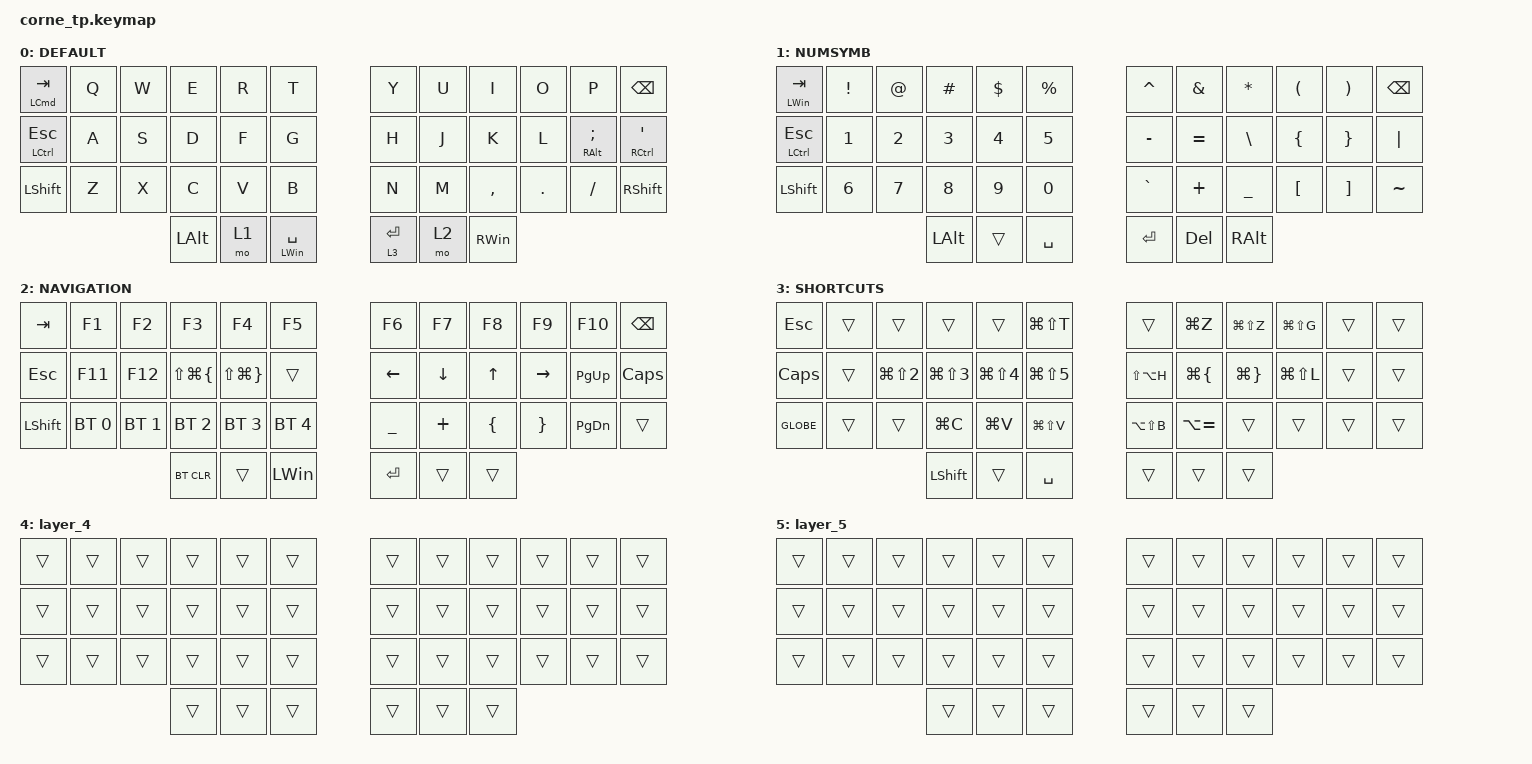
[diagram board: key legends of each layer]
/*
 * Copyright (c) 2020 The ZMK Contributors
 *
 * SPDX-License-Identifier: MIT
 */

#include <behaviors.dtsi>
#include <dt-bindings/zmk/bt.h>
#include <dt-bindings/zmk/keys.h>


#include "zmk-helpers/helper.h"
#include "include/corne_tp_key.h"       

#include <dt-bindings/zmk/outputs.h>
#include <dt-bindings/zmk/ext_power.h>

#include <dt-bindings/zmk/mouse.h>
#include <behaviors/mouse_keys.dtsi>
#include "include/mouse_tp.dtsi"


// key-position labels
#define KEYS_L LT0 LT1 LT2 LT3 LT4 LM0 LM1 LM2 LM3 LM4 LB0 LB1 LB2 LB3 LB4  // left-hand keys
#define KEYS_R RT0 RT1 RT2 RT3 RT4 RM0 RM1 RM2 RM3 RM4 RB0 RB1 RB2 RB3 RB4  // right-hand keys
#define THUMBS LH4 LH3 LH2 LH1 LH0 RH0 RH1 RH2 RH3 RH4                      // thumb keys


/ {
    behaviors {
        ht: ht {
            compatible = "zmk,behavior-hold-tap";
            label = "HT";
            bindings = <&kp>, <&kp>;

            #binding-cells = <2>;
            tapping-term-ms = <200>;
            quick-tap-ms = <150>;
            flavor = "tap-preferred";
        };
    };

    keymap {
        compatible = "zmk,keymap";

        DEFAULT {
            bindings = <
&ht LEFT_COMMAND TAB     &kp Q  &kp W  &kp E         &kp R  &kp T                 &kp Y        &kp U  &kp I          &kp O    &kp P               &kp BSPC
&ht LEFT_CONTROL ESCAPE  &kp A  &kp S  &kp D         &kp F  &kp G                 &kp H        &kp J  &kp K          &kp L    &ht RIGHT_ALT SEMI  &ht RIGHT_CONTROL APOSTROPHE
&kp LSHFT                &kp Z  &kp X  &kp C         &kp V  &kp B                 &kp N        &kp M  &kp COMMA      &kp DOT  &kp FSLH            &kp RIGHT_SHIFT
                                       &kp LEFT_ALT  &mo 1  &ht LEFT_WIN SPACE    &lt 3 ENTER  &mo 2  &kp RIGHT_WIN
            >;
        };

        NUMSYMB {
            bindings = <
&ht LEFT_WIN TAB         &kp EXCL      &kp AT        &kp POUND     &kp DOLLAR    &kp PERCENT     &kp CARET  &kp AMPERSAND  &kp STAR       &kp LEFT_PARENTHESIS  &kp RIGHT_PARENTHESIS  &kp BSPC
&ht LEFT_CONTROL ESCAPE  &kp NUMBER_1  &kp NUMBER_2  &kp NUMBER_3  &kp NUMBER_4  &kp NUMBER_5    &kp MINUS  &kp EQUAL      &kp BACKSLASH  &kp LEFT_BRACE        &kp RIGHT_BRACE        &kp PIPE
&kp LSHFT                &kp NUMBER_6  &kp NUMBER_7  &kp NUMBER_8  &kp NUMBER_9  &kp NUMBER_0    &kp GRAVE  &kp PLUS       &kp UNDER      &kp LEFT_BRACKET      &kp RIGHT_BRACKET      &kp TILDE
                                                     &kp LEFT_ALT  &trans        &kp SPACE       &kp RET    &kp DEL        &kp RALT
            >;
        };

        NAVIGATION {
            bindings = <
&kp TAB     &kp F1        &kp F2        &kp F3                  &kp F4                   &kp F5          &kp F6     &kp F7    &kp F8    &kp F9     &kp F10        &kp BSPC
&kp ESCAPE  &kp F11       &kp F12       &kp LS(LG(LEFT_BRACE))  &kp LS(LG(RIGHT_BRACE))  &trans          &kp LEFT   &kp DOWN  &kp UP    &kp RIGHT  &kp PG_UP      &kp CAPS
&kp LSHFT   &bt BT_SEL 0  &bt BT_SEL 1  &bt BT_SEL 2            &bt BT_SEL 3             &bt BT_SEL 4    &kp UNDER  &kp PLUS  &kp LBRC  &kp RBRC   &kp PAGE_DOWN  &trans
                                        &bt BT_CLR              &trans                   &kp LEFT_WIN    &kp RET    &trans    &trans
            >;
        };

        SHORTCUTS {
            bindings = <
&kp ESCAPE  &trans  &trans                &trans                &trans                &kp LG(LS(T))           &trans         &kp LG(Z)           &kp LG(LS(Z))        &kp LG(LS(G))  &trans  &trans
&kp CAPS    &trans  &kp LG(LS(NUMBER_2))  &kp LG(LS(NUMBER_3))  &kp LG(LS(NUMBER_4))  &kp LG(LS(NUMBER_5))    &kp LS(LA(H))  &kp LG(LEFT_BRACE)  &kp LG(RIGHT_BRACE)  &kp LG(LS(L))  &trans  &trans
&kp GLOBE   &trans  &trans                &kp LG(C)             &kp LG(V)             &kp LG(LS(V))           &kp LA(LS(B))  &kp LA(EQUAL)       &trans               &trans         &trans  &trans
                                          &kp LEFT_SHIFT        &trans                &kp SPACE               &trans         &trans              &trans
            >;
        };

        layer_4 {
            bindings = <
&trans  &trans  &trans  &trans  &trans  &trans    &trans  &trans  &trans  &trans  &trans  &trans
&trans  &trans  &trans  &trans  &trans  &trans    &trans  &trans  &trans  &trans  &trans  &trans
&trans  &trans  &trans  &trans  &trans  &trans    &trans  &trans  &trans  &trans  &trans  &trans
                        &trans  &trans  &trans    &trans  &trans  &trans
            >;
        };

        layer_5 {
            bindings = <
&trans  &trans  &trans  &trans  &trans  &trans    &trans  &trans  &trans  &trans  &trans  &trans
&trans  &trans  &trans  &trans  &trans  &trans    &trans  &trans  &trans  &trans  &trans  &trans
&trans  &trans  &trans  &trans  &trans  &trans    &trans  &trans  &trans  &trans  &trans  &trans
                        &trans  &trans  &trans    &trans  &trans  &trans
            >;
        };
    };
};







































